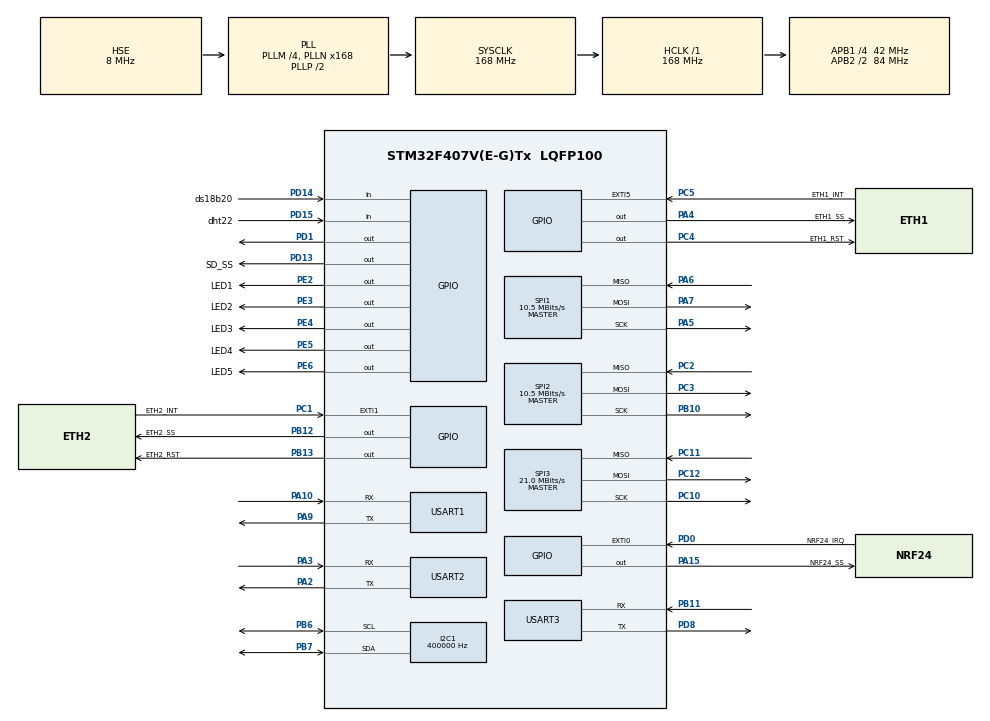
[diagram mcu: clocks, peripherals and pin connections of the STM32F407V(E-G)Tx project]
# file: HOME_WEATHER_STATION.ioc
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I2C1.ClockSpeed=400000
I2C1.I2C_Mode=I2C_Fast
Mcu.Family=STM32F4
Mcu.Name=STM32F407V(E-G)Tx
Mcu.Package=LQFP100
NVIC.PriorityGroup=NVIC_PRIORITYGROUP_4
NVIC.TIM2_IRQn=true\:0\:0\:false\:false\:true\:true\:true\:true
NVIC.TIM4_IRQn=true\:0\:0\:false\:false\:true\:true\:true\:true
NVIC.TIM5_IRQn=true\:0\:0\:false\:false\:true\:true\:true\:true
NVIC.TIM8_BRK_TIM12_IRQn=true\:0\:0\:false\:false\:true\:true\:true\:true
NVIC.TIM8_TRG_COM_TIM14_IRQn=true\:0\:0\:false\:false\:true\:true\:true\:true
NVIC.TIM8_UP_TIM13_IRQn=true\:0\:0\:false\:false\:true\:true\:true\:true
NVIC.USART1_IRQn=true\:0\:0\:false\:false\:true\:true\:true\:true
PA10.Mode=Asynchronous
PA10.Signal=USART1_RX
PA13.Mode=Serial_Wire
PA13.Signal=SYS_JTMS-SWDIO
PA14.Mode=Serial_Wire
PA14.Signal=SYS_JTCK-SWCLK
PA15.GPIO_Label=NRF24_SS
PA15.Signal=GPIO_Output
PA2.Mode=Asynchronous
PA2.Signal=USART2_TX
PA3.Mode=Asynchronous
PA3.Signal=USART2_RX
PA4.GPIO_Label=ETH1_SS
PA4.PinState=GPIO_PIN_SET
PA4.Signal=GPIO_Output
PA5.GPIO_Mode=GPIO_MODE_AF_PP
PA5.GPIO_PuPd=GPIO_NOPULL
PA5.GPIO_Speed=GPIO_SPEED_FREQ_HIGH
PA5.Mode=Full_Duplex_Master
PA5.Signal=SPI1_SCK
PA6.GPIO_Speed=GPIO_SPEED_FREQ_HIGH
PA6.Mode=Full_Duplex_Master
PA6.Signal=SPI1_MISO
PA7.GPIO_Speed=GPIO_SPEED_FREQ_HIGH
PA7.Mode=Full_Duplex_Master
PA7.Signal=SPI1_MOSI
PA9.Mode=Asynchronous
PA9.Signal=USART1_TX
PB10.GPIO_PuPd=GPIO_NOPULL
PB10.GPIO_Speed=GPIO_SPEED_FREQ_HIGH
PB10.Mode=Full_Duplex_Master
PB10.Signal=SPI2_SCK
PB11.Mode=Asynchronous
PB11.Signal=USART3_RX
PB12.GPIO_Label=ETH2_SS
PB12.PinState=GPIO_PIN_SET
PB12.Signal=GPIO_Output
PB13.GPIO_Label=ETH2_RST
PB13.PinState=GPIO_PIN_SET
PB13.Signal=GPIO_Output
PB6.GPIO_Pu=GPIO_NOPULL
PB6.GPIO_Speed=GPIO_SPEED_FREQ_HIGH
PB6.Mode=I2C
PB6.Signal=I2C1_SCL
PB7.GPIO_Pu=GPIO_NOPULL
PB7.GPIO_Speed=GPIO_SPEED_FREQ_HIGH
PB7.Mode=I2C
PB7.Signal=I2C1_SDA
PC1.GPIO_Label=ETH2_INT
PC1.Signal=GPXTI1
PC10.GPIO_Speed=GPIO_SPEED_FREQ_HIGH
PC10.Mode=Full_Duplex_Master
PC10.Signal=SPI3_SCK
PC11.GPIO_Speed=GPIO_SPEED_FREQ_HIGH
PC11.Mode=Full_Duplex_Master
PC11.Signal=SPI3_MISO
PC12.GPIO_Speed=GPIO_SPEED_FREQ_HIGH
PC12.Mode=Full_Duplex_Master
PC12.Signal=SPI3_MOSI
PC2.GPIO_PuPd=GPIO_NOPULL
PC2.GPIO_Speed=GPIO_SPEED_FREQ_HIGH
PC2.Mode=Full_Duplex_Master
PC2.Signal=SPI2_MISO
PC3.GPIO_PuPd=GPIO_NOPULL
PC3.GPIO_Speed=GPIO_SPEED_FREQ_HIGH
PC3.Mode=Full_Duplex_Master
PC3.Signal=SPI2_MOSI
PC4.GPIO_Label=ETH1_RST
PC4.PinState=GPIO_PIN_SET
PC4.Signal=GPIO_Output
PC5.GPIO_Label=ETH1_INT
PC5.Signal=GPXTI5
PD0.GPIO_Label=NRF24_IRQ
PD0.Signal=GPXTI0
PD1.Signal=GPIO_Output
PD13.GPIO_Label=SD_SS
PD13.Signal=GPIO_Output
PD14.GPIO_Label=ds18b20
PD14.Signal=GPIO_Input
PD15.GPIO_Label=dht22
PD15.Signal=GPIO_Input
PD8.Mode=Asynchronous
PD8.Signal=USART3_TX
PE2.GPIO_Label=LED1
PE2.Signal=GPIO_Output
PE3.GPIO_Label=LED2
PE3.Signal=GPIO_Output
PE4.GPIO_Label=LED3
PE4.Signal=GPIO_Output
PE5.GPIO_Label=LED4
PE5.Signal=GPIO_Output
PE6.GPIO_Label=LED5
PE6.Signal=GPIO_Output
PH0-OSC_IN.Mode=HSE-External-Oscillator
PH0-OSC_IN.Signal=RCC_OSC_IN
PH1-OSC_OUT.Mode=HSE-External-Oscillator
PH1-OSC_OUT.Signal=RCC_OSC_OUT
ProjectManager.HeapSize=0x2000
ProjectManager.StackSize=0x4000
ProjectManager.TargetToolchain=MDK-ARM V5.32
RCC.48MHZClocksFreq_Value=84000000
RCC.AHBFreq_Value=168000000
RCC.APB1CLKDivider=RCC_HCLK_DIV4
RCC.APB1Freq_Value=42000000
RCC.APB1TimFreq_Value=84000000
RCC.APB2CLKDivider=RCC_HCLK_DIV2
RCC.APB2Freq_Value=84000000
RCC.APB2TimFreq_Value=168000000
RCC.CortexFreq_Value=168000000
RCC.HCLKFreq_Value=168000000
RCC.HSE_VALUE=8000000
RCC.HSI_VALUE=16000000
RCC.LSE_VALUE=32768
RCC.PLLM=4
RCC.PLLN=168
RCC.PLLSourceVirtual=RCC_PLLSOURCE_HSE
RCC.SYSCLKFreq_VALUE=168000000
RCC.SYSCLKSource=RCC_SYSCLKSOURCE_PLLCLK
RCC.VCOOutputFreq_Value=336000000
SPI1.BaudRatePrescaler=SPI_BAUDRATEPRESCALER_8
SPI1.CalculateBaudRate=10.5 MBits/s
SPI1.DataSize=SPI_DATASIZE_8BIT
SPI1.Direction=SPI_DIRECTION_2LINES
SPI1.Mode=SPI_MODE_MASTER
SPI1.VirtualType=VM_MASTER
SPI2.BaudRatePrescaler=SPI_BAUDRATEPRESCALER_4
SPI2.CalculateBaudRate=10.5 MBits/s
SPI2.Direction=SPI_DIRECTION_2LINES
SPI2.Mode=SPI_MODE_MASTER
SPI2.VirtualType=VM_MASTER
SPI3.BaudRatePrescaler=SPI_BAUDRATEPRESCALER_2
SPI3.CalculateBaudRate=21.0 MBits/s
SPI3.Direction=SPI_DIRECTION_2LINES
SPI3.Mode=SPI_MODE_MASTER
SPI3.VirtualType=VM_MASTER
TIM12.Period=49999
TIM12.Prescaler=8399
TIM13.Period=49999
TIM13.Prescaler=8399
TIM14.Period=49999
TIM14.Prescaler=8399
TIM2.Period=49999
TIM2.Prescaler=8399
TIM2.TIM_MasterOutputTrigger=TIM_TRGO_UPDATE
TIM3.Prescaler=83
TIM4.Period=49999
TIM4.Prescaler=8399
TIM5.Period=9999
TIM5.Prescaler=8399
USART1.VirtualMode=VM_ASYNC
USART2.VirtualMode=VM_ASYNC
USART3.VirtualMode=VM_ASYNC
VP_TIM12_VS_ClockSourceINT.Mode=Internal
VP_TIM13_VS_ClockSourceINT.Mode=Enable_Timer
VP_TIM14_VS_ClockSourceINT.Mode=Enable_Timer
VP_TIM2_VS_ClockSourceINT.Mode=Internal
VP_TIM3_VS_ClockSourceINT.Mode=Internal
VP_TIM4_VS_ClockSourceINT.Mode=Internal
VP_TIM5_VS_ClockSourceINT.Mode=Internal
board=custom

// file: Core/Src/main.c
/* USER CODE BEGIN Header */
/**
  ******************************************************************************
  * @file           : main.c
  * @brief          : Main program body
  ******************************************************************************
  * @attention
  *
  * Copyright (c) 2024 STMicroelectronics.
  * All rights reserved.
  *
  * This software is licensed under terms that can be found in the LICENSE file
  * in the root directory of this software component.
  * If no LICENSE file comes with this software, it is provided AS-IS.
  *
  ******************************************************************************
  */
/* USER CODE END Header */
#include "main.h"

 I2C_HandleTypeDef hi2c1;

SPI_HandleTypeDef hspi1;
SPI_HandleTypeDef hspi2;
SPI_HandleTypeDef hspi3;

TIM_HandleTypeDef htim2;
TIM_HandleTypeDef htim3;
TIM_HandleTypeDef htim4;
TIM_HandleTypeDef htim5;
TIM_HandleTypeDef htim12;
TIM_HandleTypeDef htim13;
TIM_HandleTypeDef htim14;

UART_HandleTypeDef huart1;
UART_HandleTypeDef huart2;
UART_HandleTypeDef huart3;

void SystemClock_Config(void);
static void MX_GPIO_Init(void);
static void MX_SPI1_Init(void);
static void MX_SPI2_Init(void);
static void MX_I2C1_Init(void);
static void MX_USART1_UART_Init(void);
static void MX_SPI3_Init(void);
static void MX_USART2_UART_Init(void);
static void MX_USART3_UART_Init(void);
static void MX_TIM2_Init(void);
static void MX_TIM5_Init(void);
static void MX_TIM4_Init(void);
static void MX_TIM3_Init(void);
static void MX_TIM12_Init(void);
static void MX_TIM13_Init(void);
static void MX_TIM14_Init(void);

/* USER CODE BEGIN 0 */
extern uint8_t dwin_rx_buf[DWIN_BUF_SIZE]; // Буффер приемника DWIN
extern w5500_data w5500_1; // Настройки первой микросхемы w5500
extern w5500_data* w5500_1_ptr;
extern w5500_data w5500_2; // Настройки второй микросхемы w5500
extern w5500_data* w5500_2_ptr;
extern ram_data_struct ram_data;	//Пространство памяти ОЗУ (куда зеркализованы в т.ч. и данные из ПЗУ)
extern ram_data_struct *ram_ptr;	// Указатель на данные ОЗУ
extern ds3231_time sys_time;	//Структура системного времени
uint8_t is_time_to_update_params = 1; //Флаг того, что пора обновлять параметры модуля
uint8_t is_time_to_update_rom; //Флаг того, что пора обновить данные eeprom
uint8_t is_time_to_update_systime; //Флаг того, что пора обновить системное время
uint8_t hours_delta; // Локальный счетчик часов
extern modbus_packet rx_packet;
network_map dev_net_map = { .client_devs[0] = {.dev_addr = 43, .is_inited = 0}, // Карта устройств
														.client_devs[1] = {.dev_addr = 33, .is_inited = 0},
														.is_server_connected = 0 };
/* USER CODE END 0 */

int main(void)
{

  /* MCU Configuration--------------------------------------------------------*/

  /* Reset of all peripherals, Initializes the Flash interface and the Systick. */
  HAL_Init();

  /* Configure the system clock */
  SystemClock_Config();

  /* USER CODE BEGIN SysInit */
	// Костыль, с которым не возникает проблем с инициализацией i2c
	HAL_Delay(2000);
  /* USER CODE END SysInit */

  /* Initialize all configured peripherals */
  MX_GPIO_Init();
  MX_SPI1_Init();
  MX_SPI2_Init();
  MX_I2C1_Init();
  MX_USART1_UART_Init();
  MX_SPI3_Init();
  MX_USART2_UART_Init();
  MX_USART3_UART_Init();
  MX_TIM2_Init();
  MX_TIM5_Init();
  MX_TIM4_Init();
  MX_TIM3_Init();
  MX_TIM12_Init();
  MX_TIM13_Init();
  MX_TIM14_Init();
  /* USER CODE BEGIN 2 */

	// Запуск таймеров и прерываний
	HAL_TIM_Base_Start_IT(&htim2);
	HAL_TIM_Base_Start_IT(&htim4);
	HAL_TIM_Base_Start_IT(&htim5);
	HAL_TIM_Base_Start_IT(&htim12);
	HAL_TIM_Base_Start_IT(&htim13);
	HAL_TIM_Base_Start_IT(&htim14);
  HAL_TIM_Base_Start(&htim3);

	// Заполнение таблицы CRC32
	fill_crc32_table();

	// Инициализация пространства памяти ПЗУ (прошиваются ПЗУ 1 раз)
#ifdef EEPROM_DEFAULT_INIT
	eeproms_first_ini(&USED_I2C);
#endif

	// Инициализация микросхемы RTC (прошивается 1 раз)
#ifdef RTC_DEFAULT_INIT
	//set_time(&USED_I2C, 00, 48, 23, 5, 17, 5, 24);
#endif

	get_time(&USED_I2C);
	memcpy(&ram_ptr->uniq.control_panel.sys_time, &sys_time, sizeof(sys_time));
	memcpy(&ram_ptr->uniq.control_panel.start_time, &sys_time, sizeof(sys_time));
	hours_delta = ram_ptr->uniq.control_panel.start_time.hour;

	// Зеркализация данных из ПЗУ в ОЗУ
	eeprom_read(&USED_I2C, 0, (uint8_t*)ram_ptr, sizeof(ram_data.common.mirrored_to_rom_regs));

	// Инициализация контроллера Ethernet1 настройками из ПЗУ
#ifdef ETHERNET_PORT1
	memcpy(w5500_1_ptr->ipaddr, &ram_data.common.mirrored_to_rom_regs.common.ip_addr_1, sizeof(ram_data.common.mirrored_to_rom_regs.common.ip_addr_1));
	memcpy(w5500_1_ptr->ipgate, &ram_data.common.mirrored_to_rom_regs.common.ip_gate, sizeof(ram_data.common.mirrored_to_rom_regs.common.ip_gate));
	memcpy(w5500_1_ptr->ipmask, &ram_data.common.mirrored_to_rom_regs.common.ip_mask, sizeof(ram_data.common.mirrored_to_rom_regs.common.ip_mask));
	memcpy(w5500_1_ptr->macaddr, &ram_data.common.mirrored_to_rom_regs.common.mac_addr_1, sizeof(ram_data.common.mirrored_to_rom_regs.common.mac_addr_1));
	w5500_1_ptr->spi_n = &hspi1;
	w5500_1_ptr->port_set[0].local_port = ram_data.common.mirrored_to_rom_regs.common.local_port[0];
	w5500_1_ptr->port_set[1].local_port = ram_data.common.mirrored_to_rom_regs.common.local_port[1];
	w5500_1_ptr->port_set[2].local_port = ram_data.common.mirrored_to_rom_regs.common.local_port[1];
	w5500_1_ptr->port_set[0].sock_num = 0;
	w5500_1_ptr->port_set[1].sock_num = 1;
	w5500_1_ptr->port_set[2].sock_num = 2;
	w5500_1_ptr->port_set[0].is_soc_active = 1;
	w5500_1_ptr->port_set[1].is_soc_active = 1;
	w5500_1_ptr->port_set[2].is_soc_active = 1;
	w5500_1_ptr->port_set[0].is_client = 0;
	w5500_1_ptr->port_set[1].is_client = 1;
	w5500_1_ptr->port_set[2].is_client = 1;
	w5500_1_ptr->port_set[0].htim = &htim2;
	w5500_1_ptr->port_set[1].htim = &htim12;
	w5500_1_ptr->port_set[2].htim = &htim14;
	w5500_1_ptr->port_set[1].target_ip_addr[0] = 192;
	w5500_1_ptr->port_set[1].target_ip_addr[1] = 168;
	w5500_1_ptr->port_set[1].target_ip_addr[2] = 1;
	w5500_1_ptr->port_set[1].target_ip_addr[3] = 43;
	w5500_1_ptr->port_set[2].target_ip_addr[0] = 192;
	w5500_1_ptr->port_set[2].target_ip_addr[1] = 168;
	w5500_1_ptr->port_set[2].target_ip_addr[2] = 1;
	w5500_1_ptr->port_set[2].target_ip_addr[3] = 33;
	w5500_1_ptr->cs_eth_gpio_port = GPIOA;
	w5500_1_ptr->cs_eth_pin = GPIO_PIN_4;
	w5500_1_ptr->rst_eth_gpio_port = GPIOC;
	w5500_1_ptr->rst_eth_pin = GPIO_PIN_4;
	w5500_hardware_rst(w5500_1_ptr);
	w5500_ini(w5500_1_ptr);
#endif
	// Инициализация контроллера Ethernet2 настройками из ПЗУ
#ifdef ETHERNET_PORT2
	memcpy(w5500_2_ptr->ipaddr, &ram_data.common.mirrored_to_rom_regs.common.ip_addr_2, sizeof(ram_data.common.mirrored_to_rom_regs.common.ip_addr_2));
	memcpy(w5500_2_ptr->ipgate, &ram_data.common.mirrored_to_rom_regs.common.ip_gate, sizeof(ram_data.common.mirrored_to_rom_regs.common.ip_gate));
	memcpy(w5500_2_ptr->ipmask, &ram_data.common.mirrored_to_rom_regs.common.ip_mask, sizeof(ram_data.common.mirrored_to_rom_regs.common.ip_mask));
	memcpy(w5500_2_ptr->macaddr, &ram_data.common.mirrored_to_rom_regs.common.mac_addr_2, sizeof(ram_data.common.mirrored_to_rom_regs.common.mac_addr_2));
	w5500_2_ptr->spi_n = hspi2;
	w5500_2_ptr->port_set[0].local_port = ram_data.common.mirrored_to_rom_regs.common.local_port[0];
	w5500_2_ptr->port_set[1].local_port = ram_data.common.mirrored_to_rom_regs.common.local_port[1];
	w5500_2_ptr->port_set[0].sock_num = 0;
	w5500_2_ptr->port_set[1].sock_num = 1;
	w5500_2_ptr->port_set[0].is_soc_active = 1;
	w5500_2_ptr->port_set[1].is_soc_active = 1;
	w5500_2_ptr->port_set[0].is_client = 0;
	w5500_2_ptr->port_set[1].is_client = 1;
	w5500_2_ptr->port_set[0].htim = htim4;
	w5500_2_ptr->port_set[1].htim = htim13;
	w5500_2_ptr->port_set[1].target_ip_addr[0] = 192;
	w5500_2_ptr->port_set[1].target_ip_addr[1] = 168;
	w5500_2_ptr->port_set[1].target_ip_addr[2] = 1;
	w5500_2_ptr->port_set[1].target_ip_addr[3] = 43;
	w5500_2_ptr->cs_eth_gpio_port = GPIOB;
	w5500_2_ptr->cs_eth_pin = GPIO_PIN_12;
	w5500_2_ptr->rst_eth_gpio_port = GPIOB;
	w5500_2_ptr->rst_eth_pin = GPIO_PIN_13;
	w5500_hardware_rst(w5500_2_ptr);
	w5500_ini(w5500_2_ptr);
#endif

	// Инициализация датчиков
	bmp180_init(&USED_I2C);
	dht22_init(GPIOD, GPIO_PIN_15);
	ds18b20_init(GPIOD, GPIO_PIN_14, SKIP_ROM);

	// Инициализация дисплея
	dwin_init();
	dwin_print_home_page();
  /* USER CODE END 2 */

  /* Infinite loop */
  while (1)
  {

    /* USER CODE BEGIN 3 */
		//если пришло время обновить параметры модуля
		if (is_time_to_update_params == 1)
		{
			//обновление времени
			if (is_time_to_update_systime)
			{
				set_time(&USED_I2C, ram_ptr->uniq.control_panel.sys_time.seconds,
									ram_ptr->uniq.control_panel.sys_time.minutes,
									ram_ptr->uniq.control_panel.sys_time.hour,
									ram_ptr->uniq.control_panel.sys_time.dayofweek,
									ram_ptr->uniq.control_panel.sys_time.dayofmonth,
									ram_ptr->uniq.control_panel.sys_time.month,
									ram_ptr->uniq.control_panel.sys_time.year);
				is_time_to_update_systime = 0;
			}
			else
			{
				get_time(&USED_I2C);
				memcpy(&ram_ptr->uniq.control_panel.sys_time, &sys_time, sizeof(sys_time));
			}
			if (((ram_ptr->uniq.control_panel.sys_time.hour - hours_delta) > 0 )||((hours_delta - ram_ptr->uniq.control_panel.sys_time.hour) == 23))
			{
				hours_delta = ram_ptr->uniq.control_panel.sys_time.hour;
				ram_ptr->common.work_time++;
			}
			//обновление показаний датчиков
			ram_ptr->uniq.control_panel.pressure = bmp180_get_press(&USED_I2C, 3);
			if (dht22_get_hum(GPIOD, GPIO_PIN_15, (float*)&ram_ptr->uniq.control_panel.humidity) != DHT22_ERROR)
				ram_ptr->uniq.control_panel.humidity += ram_ptr->common.mirrored_to_rom_regs.common.hum_correction;
#ifdef DHT22_DEFAULT_SENS
			if (dht22_get_temp(GPIOD, GPIO_PIN_15, (float*)&ram_ptr->uniq.control_panel.temperature) != DHT22_ERROR)
				ram_ptr->uniq.control_panel.temperature += ram_ptr->common.mirrored_to_rom_regs.common.temp_correction;
#else
			if (ds18b20_get_temp(GPIOD, GPIO_PIN_14, (float*)&ram_ptr->uniq.control_panel.temperature) != DS18B20_ERROR)
				ram_ptr->uniq.control_panel.temperature += ram_ptr->common.mirrored_to_rom_regs.common.temp_correction;
#endif
			//если для алгоритма термостата GasBoilerController выбран датчик от ControlPanel, то регулярно
			//передаем показания в GasBoilerController
			if (ram_ptr->uniq.control_panel.gas_boiler_common.mirrored_to_rom_regs.unig.gas_boiler.temp_source)
			{
				for (uint8_t i = 0; i < (sizeof(dev_net_map.client_devs)/sizeof(dev_net_map.client_devs[0])); i++)
				{
					if (strstr((const char*)dev_net_map.client_devs[i].device_name, GAS_BOIL_NAME) != NULL)
					{
						write_cmd_entry* entry = get_free_write_entry(&dev_net_map.client_devs[i]);
						if (entry != NULL)
							set_write_entry(entry, offsetof(ram_data_struct, uniq.gas_boiler.controlpanel_temp),
								(void*)&ram_ptr->uniq.control_panel.temperature, sizeof(ram_ptr->uniq.control_panel.temperature));
						break;
					}
				}
			}
			is_time_to_update_params = 0;
			//обновление дисплея
			dwin_print_home_page();
			dwin_print_net_page();
			dwin_print_regs_page();
			dwin_print_gasboiler_page();
			dwin_print_settings_page();
		}

		//если пришло время обновить данные eeprom
		if (is_time_to_update_rom)
		{
			eeprom_write(&USED_I2C, 0, (uint8_t*)&ram_ptr->common.mirrored_to_rom_regs, sizeof(eeprom_data));
			is_time_to_update_rom = 0;
		}

		// серверная часть (взаимодействие с raspberry - сервером)
		check_sock_connection(w5500_1_ptr, &w5500_1_ptr->port_set[0]);
		if (!reply_iteration(w5500_1_ptr, w5500_1_ptr->port_set[0].sock_num))
		{
			dev_net_map.is_server_connected = 1;
			dev_net_map.serv_addr = rx_packet.header_fields.send_addr;
		}
		else
			dev_net_map.is_server_connected = 0;

		// клиентская часть (взаимодействие с другими клиентскими у-вами)
		for (uint8_t i = 0; i < (sizeof(dev_net_map.client_devs)/sizeof(dev_net_map.client_devs[0])); i++)
		{
			// Если сокет неактивен, переинициализация
			check_sock_connection(w5500_1_ptr, &w5500_1_ptr->port_set[i+1]);
			//выполняем команду TYPE, если отсутствует инициализация
			if (!dev_net_map.client_devs[i].is_inited)
				do_type_cmd(w5500_1_ptr, w5500_1_ptr->port_set[i+1].sock_num, &dev_net_map.client_devs[i]);
			else
			{
				//выполняем команду WRITE, если есть, что записать
				//следом выполняем CONFIG для обновления ПЗУ
				write_cmd_entry* entry;
				while ((entry = get_loaded_write_entry(&dev_net_map.client_devs[i])) != NULL)
				{
					if (do_write_cmd(w5500_1_ptr, w5500_1_ptr->port_set[i+1].sock_num, &dev_net_map.client_devs[i], entry->reg_addr, entry->value, entry->value_size))
					{
						free_write_entry(entry);
						continue;
					}
					if (do_config_cmd(w5500_1_ptr, w5500_1_ptr->port_set[i+1].sock_num, &dev_net_map.client_devs[i], entry->reg_addr, entry->value, entry->value_size))
					{
						free_write_entry(entry);
						continue;
					}
					free_write_entry(entry);
				}
				//выполняем команду READ
				uint16_t rw_size;
				if (strstr((const char*)dev_net_map.client_devs[i].device_name, GAS_BOIL_NAME) != NULL)
					rw_size = GAS_BOILER_CONTROLLER_REGS_SIZE;
				else if (strstr((const char*)dev_net_map.client_devs[i].device_name, STR_WEATH_NAME)!= NULL)
					rw_size = WEATH_STATION_REGS_SIZE;
				do_read_cmd(w5500_1_ptr, w5500_1_ptr->port_set[i+1].sock_num, &dev_net_map.client_devs[i], 0, rw_size);
			}
		}
		HAL_Delay(1000);
  }
  /* USER CODE END 3 */
}

void SystemClock_Config(void)
{
  RCC_OscInitTypeDef RCC_OscInitStruct = {0};
  RCC_ClkInitTypeDef RCC_ClkInitStruct = {0};

  /** Configure the main internal regulator output voltage
  */
  __HAL_RCC_PWR_CLK_ENABLE();
  __HAL_PWR_VOLTAGESCALING_CONFIG(PWR_REGULATOR_VOLTAGE_SCALE1);

  /** Initializes the RCC Oscillators according to the specified parameters
  * in the RCC_OscInitTypeDef structure.
  */
  RCC_OscInitStruct.OscillatorType = RCC_OSCILLATORTYPE_HSE;
  RCC_OscInitStruct.HSEState = RCC_HSE_ON;
  RCC_OscInitStruct.PLL.PLLState = RCC_PLL_ON;
  RCC_OscInitStruct.PLL.PLLSource = RCC_PLLSOURCE_HSE;
  RCC_OscInitStruct.PLL.PLLM = 4;
  RCC_OscInitStruct.PLL.PLLN = 168;
  RCC_OscInitStruct.PLL.PLLP = RCC_PLLP_DIV2;
  RCC_OscInitStruct.PLL.PLLQ = 4;
  if (HAL_RCC_OscConfig(&RCC_OscInitStruct) != HAL_OK)
  {
    Error_Handler();
  }

  /** Initializes the CPU, AHB and APB buses clocks
  */
  RCC_ClkInitStruct.ClockType = RCC_CLOCKTYPE_HCLK|RCC_CLOCKTYPE_SYSCLK
                              |RCC_CLOCKTYPE_PCLK1|RCC_CLOCKTYPE_PCLK2;
  RCC_ClkInitStruct.SYSCLKSource = RCC_SYSCLKSOURCE_PLLCLK;
  RCC_ClkInitStruct.AHBCLKDivider = RCC_SYSCLK_DIV1;
  RCC_ClkInitStruct.APB1CLKDivider = RCC_HCLK_DIV4;
  RCC_ClkInitStruct.APB2CLKDivider = RCC_HCLK_DIV2;

  if (HAL_RCC_ClockConfig(&RCC_ClkInitStruct, FLASH_LATENCY_5) != HAL_OK)
  {
    Error_Handler();
  }
}

static void MX_I2C1_Init(void)
{

  hi2c1.Instance = I2C1;
  hi2c1.Init.ClockSpeed = 400000;
  hi2c1.Init.DutyCycle = I2C_DUTYCYCLE_2;
  hi2c1.Init.OwnAddress1 = 0;
  hi2c1.Init.AddressingMode = I2C_ADDRESSINGMODE_7BIT;
  hi2c1.Init.DualAddressMode = I2C_DUALADDRESS_DISABLE;
  hi2c1.Init.OwnAddress2 = 0;
  hi2c1.Init.GeneralCallMode = I2C_GENERALCALL_DISABLE;
  hi2c1.Init.NoStretchMode = I2C_NOSTRETCH_DISABLE;
  if (HAL_I2C_Init(&hi2c1) != HAL_OK)
  {
    Error_Handler();
  }

}

static void MX_SPI1_Init(void)
{

  /* SPI1 parameter configuration*/
  hspi1.Instance = SPI1;
  hspi1.Init.Mode = SPI_MODE_MASTER;
  hspi1.Init.Direction = SPI_DIRECTION_2LINES;
  hspi1.Init.DataSize = SPI_DATASIZE_8BIT;
  hspi1.Init.CLKPolarity = SPI_POLARITY_LOW;
  hspi1.Init.CLKPhase = SPI_PHASE_1EDGE;
  hspi1.Init.NSS = SPI_NSS_SOFT;
  hspi1.Init.BaudRatePrescaler = SPI_BAUDRATEPRESCALER_8;
  hspi1.Init.FirstBit = SPI_FIRSTBIT_MSB;
  hspi1.Init.TIMode = SPI_TIMODE_DISABLE;
  hspi1.Init.CRCCalculation = SPI_CRCCALCULATION_DISABLE;
  hspi1.Init.CRCPolynomial = 10;
  if (HAL_SPI_Init(&hspi1) != HAL_OK)
  {
    Error_Handler();
  }

}

static void MX_SPI2_Init(void)
{

  /* SPI2 parameter configuration*/
  hspi2.Instance = SPI2;
  hspi2.Init.Mode = SPI_MODE_MASTER;
  hspi2.Init.Direction = SPI_DIRECTION_2LINES;
  hspi2.Init.DataSize = SPI_DATASIZE_8BIT;
  hspi2.Init.CLKPolarity = SPI_POLARITY_LOW;
  hspi2.Init.CLKPhase = SPI_PHASE_1EDGE;
  hspi2.Init.NSS = SPI_NSS_SOFT;
  hspi2.Init.BaudRatePrescaler = SPI_BAUDRATEPRESCALER_4;
  hspi2.Init.FirstBit = SPI_FIRSTBIT_MSB;
  hspi2.Init.TIMode = SPI_TIMODE_DISABLE;
  hspi2.Init.CRCCalculation = SPI_CRCCALCULATION_DISABLE;
  hspi2.Init.CRCPolynomial = 10;
  if (HAL_SPI_Init(&hspi2) != HAL_OK)
  {
    Error_Handler();
  }

}

static void MX_SPI3_Init(void)
{

  /* SPI3 parameter configuration*/
  hspi3.Instance = SPI3;
  hspi3.Init.Mode = SPI_MODE_MASTER;
  hspi3.Init.Direction = SPI_DIRECTION_2LINES;
  hspi3.Init.DataSize = SPI_DATASIZE_8BIT;
  hspi3.Init.CLKPolarity = SPI_POLARITY_LOW;
  hspi3.Init.CLKPhase = SPI_PHASE_1EDGE;
  hspi3.Init.NSS = SPI_NSS_SOFT;
  hspi3.Init.BaudRatePrescaler = SPI_BAUDRATEPRESCALER_2;
  hspi3.Init.FirstBit = SPI_FIRSTBIT_MSB;
  hspi3.Init.TIMode = SPI_TIMODE_DISABLE;
  hspi3.Init.CRCCalculation = SPI_CRCCALCULATION_DISABLE;
  hspi3.Init.CRCPolynomial = 10;
  if (HAL_SPI_Init(&hspi3) != HAL_OK)
  {
    Error_Handler();
  }

}

static void MX_TIM2_Init(void)
{

  TIM_ClockConfigTypeDef sClockSourceConfig = {0};
  TIM_MasterConfigTypeDef sMasterConfig = {0};

  htim2.Instance = TIM2;
  htim2.Init.Prescaler = 8399;
  htim2.Init.CounterMode = TIM_COUNTERMODE_UP;
  htim2.Init.Period = 49999;
  htim2.Init.ClockDivision = TIM_CLOCKDIVISION_DIV1;
  htim2.Init.AutoReloadPreload = TIM_AUTORELOAD_PRELOAD_DISABLE;
  if (HAL_TIM_Base_Init(&htim2) != HAL_OK)
  {
    Error_Handler();
  }
  sClockSourceConfig.ClockSource = TIM_CLOCKSOURCE_INTERNAL;
  if (HAL_TIM_ConfigClockSource(&htim2, &sClockSourceConfig) != HAL_OK)
  {
    Error_Handler();
  }
  sMasterConfig.MasterOutputTrigger = TIM_TRGO_UPDATE;
  sMasterConfig.MasterSlaveMode = TIM_MASTERSLAVEMODE_DISABLE;
  if (HAL_TIMEx_MasterConfigSynchronization(&htim2, &sMasterConfig) != HAL_OK)
  {
    Error_Handler();
  }

}

static void MX_TIM3_Init(void)
{

  TIM_ClockConfigTypeDef sClockSourceConfig = {0};
  TIM_MasterConfigTypeDef sMasterConfig = {0};

  htim3.Instance = TIM3;
  htim3.Init.Prescaler = 83;
  htim3.Init.CounterMode = TIM_COUNTERMODE_UP;
  htim3.Init.Period = 65535;
  htim3.Init.ClockDivision = TIM_CLOCKDIVISION_DIV1;
  htim3.Init.AutoReloadPreload = TIM_AUTORELOAD_PRELOAD_DISABLE;
  if (HAL_TIM_Base_Init(&htim3) != HAL_OK)
  {
    Error_Handler();
  }
  sClockSourceConfig.ClockSource = TIM_CLOCKSOURCE_INTERNAL;
  if (HAL_TIM_ConfigClockSource(&htim3, &sClockSourceConfig) != HAL_OK)
  {
    Error_Handler();
  }
  sMasterConfig.MasterOutputTrigger = TIM_TRGO_RESET;
  sMasterConfig.MasterSlaveMode = TIM_MASTERSLAVEMODE_DISABLE;
  if (HAL_TIMEx_MasterConfigSynchronization(&htim3, &sMasterConfig) != HAL_OK)
  {
    Error_Handler();
  }

}

static void MX_TIM4_Init(void)
{

  TIM_ClockConfigTypeDef sClockSourceConfig = {0};
  TIM_MasterConfigTypeDef sMasterConfig = {0};

  htim4.Instance = TIM4;
  htim4.Init.Prescaler = 8399;
  htim4.Init.CounterMode = TIM_COUNTERMODE_UP;
  htim4.Init.Period = 49999;
  htim4.Init.ClockDivision = TIM_CLOCKDIVISION_DIV1;
  htim4.Init.AutoReloadPreload = TIM_AUTORELOAD_PRELOAD_DISABLE;
  if (HAL_TIM_Base_Init(&htim4) != HAL_OK)
  {
    Error_Handler();
  }
  sClockSourceConfig.ClockSource = TIM_CLOCKSOURCE_INTERNAL;
  if (HAL_TIM_ConfigClockSource(&htim4, &sClockSourceConfig) != HAL_OK)
  {
    Error_Handler();
  }
  sMasterConfig.MasterOutputTrigger = TIM_TRGO_RESET;
  sMasterConfig.MasterSlaveMode = TIM_MASTERSLAVEMODE_DISABLE;
  if (HAL_TIMEx_MasterConfigSynchronization(&htim4, &sMasterConfig) != HAL_OK)
  {
    Error_Handler();
  }

}

static void MX_TIM5_Init(void)
{

  TIM_ClockConfigTypeDef sClockSourceConfig = {0};
  TIM_MasterConfigTypeDef sMasterConfig = {0};

  htim5.Instance = TIM5;
  htim5.Init.Prescaler = 8399;
  htim5.Init.CounterMode = TIM_COUNTERMODE_UP;
  htim5.Init.Period = 9999;
  htim5.Init.ClockDivision = TIM_CLOCKDIVISION_DIV1;
  htim5.Init.AutoReloadPreload = TIM_AUTORELOAD_PRELOAD_DISABLE;
  if (HAL_TIM_Base_Init(&htim5) != HAL_OK)
  {
    Error_Handler();
  }
  sClockSourceConfig.ClockSource = TIM_CLOCKSOURCE_INTERNAL;
  if (HAL_TIM_ConfigClockSource(&htim5, &sClockSourceConfig) != HAL_OK)
  {
    Error_Handler();
  }
  sMasterConfig.MasterOutputTrigger = TIM_TRGO_RESET;
  sMasterConfig.MasterSlaveMode = TIM_MASTERSLAVEMODE_DISABLE;
  if (HAL_TIMEx_MasterConfigSynchronization(&htim5, &sMasterConfig) != HAL_OK)
  {
    Error_Handler();
  }

}

static void MX_TIM12_Init(void)
{

  TIM_ClockConfigTypeDef sClockSourceConfig = {0};

  htim12.Instance = TIM12;
  htim12.Init.Prescaler = 8399;
  htim12.Init.CounterMode = TIM_COUNTERMODE_UP;
  htim12.Init.Period = 49999;
  htim12.Init.ClockDivision = TIM_CLOCKDIVISION_DIV1;
  htim12.Init.AutoReloadPreload = TIM_AUTORELOAD_PRELOAD_DISABLE;
  if (HAL_TIM_Base_Init(&htim12) != HAL_OK)
  {
    Error_Handler();
  }
  sClockSourceConfig.ClockSource = TIM_CLOCKSOURCE_INTERNAL;
  if (HAL_TIM_ConfigClockSource(&htim12, &sClockSourceConfig) != HAL_OK)
  {
    Error_Handler();
  }

}

static void MX_TIM13_Init(void)
{

  htim13.Instance = TIM13;
  htim13.Init.Prescaler = 8399;
  htim13.Init.CounterMode = TIM_COUNTERMODE_UP;
  htim13.Init.Period = 49999;
  htim13.Init.ClockDivision = TIM_CLOCKDIVISION_DIV1;
  htim13.Init.AutoReloadPreload = TIM_AUTORELOAD_PRELOAD_DISABLE;
  if (HAL_TIM_Base_Init(&htim13) != HAL_OK)
  {
    Error_Handler();
  }

}

static void MX_TIM14_Init(void)
{

  htim14.Instance = TIM14;
  htim14.Init.Prescaler = 8399;
  htim14.Init.CounterMode = TIM_COUNTERMODE_UP;
  htim14.Init.Period = 49999;
  htim14.Init.ClockDivision = TIM_CLOCKDIVISION_DIV1;
  htim14.Init.AutoReloadPreload = TIM_AUTORELOAD_PRELOAD_DISABLE;
  if (HAL_TIM_Base_Init(&htim14) != HAL_OK)
  {
    Error_Handler();
  }

}

static void MX_USART1_UART_Init(void)
{

  huart1.Instance = USART1;
  huart1.Init.BaudRate = 115200;
  huart1.Init.WordLength = UART_WORDLENGTH_8B;
  huart1.Init.StopBits = UART_STOPBITS_1;
  huart1.Init.Parity = UART_PARITY_NONE;
  huart1.Init.Mode = UART_MODE_TX_RX;
  huart1.Init.HwFlowCtl = UART_HWCONTROL_NONE;
  huart1.Init.OverSampling = UART_OVERSAMPLING_16;
  if (HAL_UART_Init(&huart1) != HAL_OK)
  {
    Error_Handler();
  }

}

static void MX_USART2_UART_Init(void)
{

  huart2.Instance = USART2;
  huart2.Init.BaudRate = 115200;
  huart2.Init.WordLength = UART_WORDLENGTH_8B;
  huart2.Init.StopBits = UART_STOPBITS_1;
  huart2.Init.Parity = UART_PARITY_NONE;
  huart2.Init.Mode = UART_MODE_TX_RX;
  huart2.Init.HwFlowCtl = UART_HWCONTROL_NONE;
  huart2.Init.OverSampling = UART_OVERSAMPLING_16;
  if (HAL_UART_Init(&huart2) != HAL_OK)
  {
    Error_Handler();
  }

}

static void MX_USART3_UART_Init(void)
{

  huart3.Instance = USART3;
  huart3.Init.BaudRate = 115200;
  huart3.Init.WordLength = UART_WORDLENGTH_8B;
  huart3.Init.StopBits = UART_STOPBITS_1;
  huart3.Init.Parity = UART_PARITY_NONE;
  huart3.Init.Mode = UART_MODE_TX_RX;
  huart3.Init.HwFlowCtl = UART_HWCONTROL_NONE;
  huart3.Init.OverSampling = UART_OVERSAMPLING_16;
  if (HAL_UART_Init(&huart3) != HAL_OK)
  {
    Error_Handler();
  }

}

static void MX_GPIO_Init(void)
{
  GPIO_InitTypeDef GPIO_InitStruct = {0};

  /* GPIO Ports Clock Enable */
  __HAL_RCC_GPIOE_CLK_ENABLE();
  __HAL_RCC_GPIOH_CLK_ENABLE();
  __HAL_RCC_GPIOC_CLK_ENABLE();
  __HAL_RCC_GPIOA_CLK_ENABLE();
  __HAL_RCC_GPIOB_CLK_ENABLE();
  __HAL_RCC_GPIOD_CLK_ENABLE();

  /*Configure GPIO pin Output Level */
  HAL_GPIO_WritePin(GPIOE, LED1_Pin|LED2_Pin|LED3_Pin|LED4_Pin
                          |LED5_Pin, GPIO_PIN_RESET);

  /*Configure GPIO pin Output Level */
  HAL_GPIO_WritePin(ETH1_SS_GPIO_Port, ETH1_SS_Pin, GPIO_PIN_SET);

  /*Configure GPIO pin Output Level */
  HAL_GPIO_WritePin(ETH1_RST_GPIO_Port, ETH1_RST_Pin, GPIO_PIN_SET);

  /*Configure GPIO pin Output Level */
  HAL_GPIO_WritePin(GPIOB, ETH2_SS_Pin|ETH2_RST_Pin, GPIO_PIN_SET);

  /*Configure GPIO pin Output Level */
  HAL_GPIO_WritePin(GPIOD, SD_SS_Pin|GPIO_PIN_1, GPIO_PIN_RESET);

  /*Configure GPIO pin Output Level */
  HAL_GPIO_WritePin(NRF24_SS_GPIO_Port, NRF24_SS_Pin, GPIO_PIN_RESET);

  /*Configure GPIO pins : LED1_Pin LED2_Pin LED3_Pin LED4_Pin
                           LED5_Pin */
  GPIO_InitStruct.Pin = LED1_Pin|LED2_Pin|LED3_Pin|LED4_Pin
                          |LED5_Pin;
  GPIO_InitStruct.Mode = GPIO_MODE_OUTPUT_PP;
  GPIO_InitStruct.Pull = GPIO_NOPULL;
  GPIO_InitStruct.Speed = GPIO_SPEED_FREQ_LOW;
  HAL_GPIO_Init(GPIOE, &GPIO_InitStruct);

  /*Configure GPIO pins : ETH2_INT_Pin ETH1_INT_Pin */
  GPIO_InitStruct.Pin = ETH2_INT_Pin|ETH1_INT_Pin;
  GPIO_InitStruct.Mode = GPIO_MODE_IT_RISING;
  GPIO_InitStruct.Pull = GPIO_NOPULL;
  HAL_GPIO_Init(GPIOC, &GPIO_InitStruct);

  /*Configure GPIO pins : ETH1_SS_Pin NRF24_SS_Pin */
  GPIO_InitStruct.Pin = ETH1_SS_Pin|NRF24_SS_Pin;
  GPIO_InitStruct.Mode = GPIO_MODE_OUTPUT_PP;
  GPIO_InitStruct.Pull = GPIO_NOPULL;
  GPIO_InitStruct.Speed = GPIO_SPEED_FREQ_LOW;
  HAL_GPIO_Init(GPIOA, &GPIO_InitStruct);

  /*Configure GPIO pin : ETH1_RST_Pin */
  GPIO_InitStruct.Pin = ETH1_RST_Pin;
  GPIO_InitStruct.Mode = GPIO_MODE_OUTPUT_PP;
  GPIO_InitStruct.Pull = GPIO_NOPULL;
  GPIO_InitStruct.Speed = GPIO_SPEED_FREQ_LOW;
  HAL_GPIO_Init(ETH1_RST_GPIO_Port, &GPIO_InitStruct);

  /*Configure GPIO pins : ETH2_SS_Pin ETH2_RST_Pin */
  GPIO_InitStruct.Pin = ETH2_SS_Pin|ETH2_RST_Pin;
  GPIO_InitStruct.Mode = GPIO_MODE_OUTPUT_PP;
  GPIO_InitStruct.Pull = GPIO_NOPULL;
  GPIO_InitStruct.Speed = GPIO_SPEED_FREQ_LOW;
  HAL_GPIO_Init(GPIOB, &GPIO_InitStruct);

  /*Configure GPIO pins : SD_SS_Pin PD1 */
  GPIO_InitStruct.Pin = SD_SS_Pin|GPIO_PIN_1;
  GPIO_InitStruct.Mode = GPIO_MODE_OUTPUT_PP;
  GPIO_InitStruct.Pull = GPIO_NOPULL;
  GPIO_InitStruct.Speed = GPIO_SPEED_FREQ_LOW;
  HAL_GPIO_Init(GPIOD, &GPIO_InitStruct);

  /*Configure GPIO pins : ds18b20_Pin dht22_Pin */
  GPIO_InitStruct.Pin = ds18b20_Pin|dht22_Pin;
  GPIO_InitStruct.Mode = GPIO_MODE_INPUT;
  GPIO_InitStruct.Pull = GPIO_NOPULL;
  HAL_GPIO_Init(GPIOD, &GPIO_InitStruct);

  /*Configure GPIO pin : NRF24_IRQ_Pin */
  GPIO_InitStruct.Pin = NRF24_IRQ_Pin;
  GPIO_InitStruct.Mode = GPIO_MODE_IT_RISING;
  GPIO_InitStruct.Pull = GPIO_NOPULL;
  HAL_GPIO_Init(NRF24_IRQ_GPIO_Port, &GPIO_InitStruct);

}

/* USER CODE BEGIN 4 */
void HAL_TIM_PeriodElapsedCallback(TIM_HandleTypeDef *htim)
{
	if (htim == &htim2)
	{
		w5500_1_ptr->port_set[0].is_soc_active = 0;
	}
	else if (htim == &htim4)
	{
		w5500_2_ptr->port_set[0].is_soc_active = 0;
	}
	else if (htim == &htim12)
	{
		w5500_1_ptr->port_set[1].is_soc_active = 0;
	}
	else if (htim == &htim13)
	{
		w5500_2_ptr->port_set[1].is_soc_active = 0;
	}
	else if (htim == &htim14)
	{
		w5500_1_ptr->port_set[2].is_soc_active = 0;
	}
	else if (htim == &htim5)
	{
		//Каждую секунду обновление параметров модуля
		is_time_to_update_params = 1;
	}
}

/* USER CODE END 4 */

void Error_Handler(void)
{
  __disable_irq();
  while (1)
  {
  }
}
